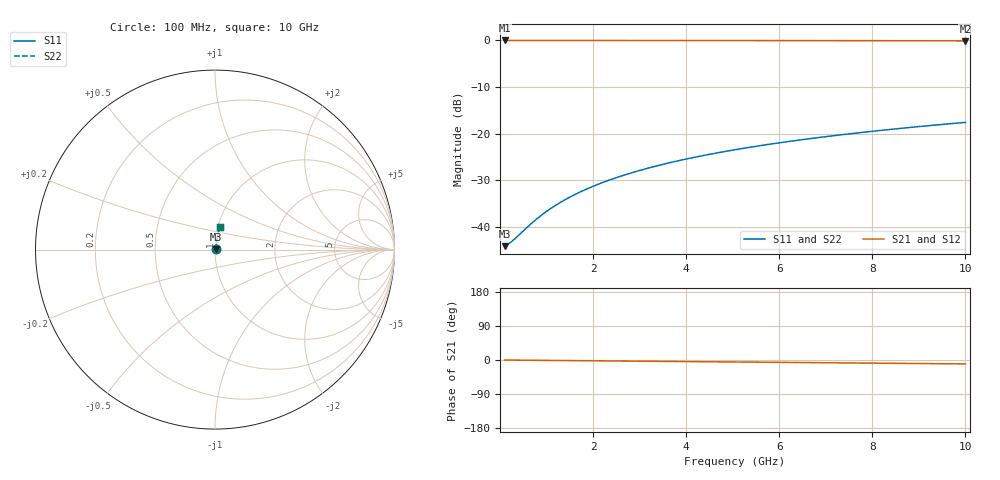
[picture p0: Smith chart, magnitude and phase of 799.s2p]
# Hz S RI R 50.00
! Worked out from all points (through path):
!   100 points, 100 MHz to 10 GHz, reference 50 ohm
!   highest |S21| = -0.05 dB at 100 MHz (marker M1); lowest = -0.1 dB at 10 GHz (marker M2)
!   group delay of S21, straight-line fit = 2.86 ps
!   lowest |S11| = -44.0 dB at 100 MHz (marker M3), VSWR 1.01, Z = 50.6 + j0.134 ohm
!   |S11| at or under -10 dB: start of sweep to end of sweep
!   |S22| runs from -44.0 to -17.6 dB; largest |S21 - S12| = 0
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1e8  0.00614 0.00132  0.9939 -0.00179  0.9939 -0.00179  0.00614 0.00132
2e8  0.00618 0.00264  0.9938 -0.00358  0.9938 -0.00358  0.00618 0.00264
3e8  0.00622 0.00396  0.9938 -0.00537  0.9938 -0.00537  0.00622 0.00396
7e8  0.0064 0.00924  0.9936 -0.0125  0.9936 -0.0125  0.0064 0.00924
8e8  0.00645 0.0106  0.9935 -0.0143  0.9935 -0.0143  0.00645 0.0106
1e9  0.00656 0.0132  0.9934 -0.0179  0.9934 -0.0179  0.00656 0.0132
1.2e9  0.00669 0.0158  0.9933 -0.0215  0.9933 -0.0215  0.00669 0.0158
1.4e9  0.00683 0.0185  0.9931 -0.025  0.9931 -0.025  0.00683 0.0185
1.6e9  0.00699 0.0211  0.993 -0.0286  0.993 -0.0286  0.00699 0.0211
1.8e9  0.00717 0.0237  0.9928 -0.0322  0.9928 -0.0322  0.00717 0.0237
2.1e9  0.00747 0.0277  0.9925 -0.0376  0.9925 -0.0376  0.00747 0.0277
2.5e9  0.00794 0.033  0.992 -0.0447  0.992 -0.0447  0.00794 0.033
2.9e9  0.00848 0.0382  0.9914 -0.0518  0.9914 -0.0518  0.00848 0.0382
3.4e9  0.00926 0.0448  0.9906 -0.0607  0.9906 -0.0607  0.00926 0.0448
3.8e9  0.00996 0.05  0.9899 -0.0678  0.9899 -0.0678  0.00996 0.05
4.2e9  0.0107 0.0552  0.989 -0.0749  0.989 -0.0749  0.0107 0.0552
5.1e9  0.0128 0.0669  0.9869 -0.0908  0.9869 -0.0908  0.0128 0.0669
5.9e9  0.0149 0.0772  0.9847 -0.1049  0.9847 -0.1049  0.0149 0.0772
6.7e9  0.0173 0.0874  0.9822 -0.1189  0.9822 -0.1189  0.0173 0.0874
7.5e9  0.02 0.0976  0.9794 -0.1329  0.9794 -0.1329  0.02 0.0976
8.4e9  0.0233 0.1089  0.9758 -0.1484  0.9758 -0.1484  0.0233 0.1089
1e10  0.0302 0.1287  0.9686 -0.1758  0.9686 -0.1758  0.0302 0.1287
